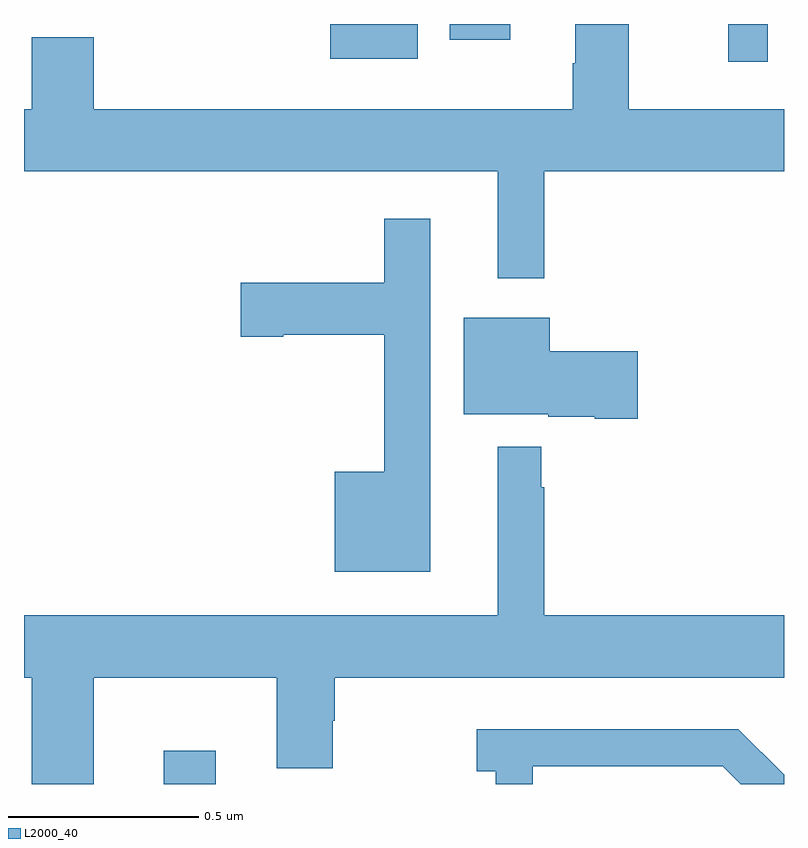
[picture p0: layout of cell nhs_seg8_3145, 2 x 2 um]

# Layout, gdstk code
import gdstk
lib = gdstk.Library(unit=1e-6, precision=1e-09)
def R(c, l, rs):  # rectangles x0, y0, x1, y1
    for r in rs: c.add(gdstk.rectangle(r[:2], r[2:], *l))
def P(c, l, *ps):  # polygons
    for p in ps: c.add(gdstk.Polygon(p, *l))
L2000_40 = (2000, 40)

nhs_seg8_3145 = lib.new_cell('nhs_seg8_3145')
R(nhs_seg8_3145, L2000_40, [(153.368,1102.9,153.505,1102.987), (154.853,1104.801,154.957,1104.9), (153.806,1104.809,154.036,1104.9), (154.121,1104.858,154.279,1104.9)])
P(nhs_seg8_3145, L2000_40, [(154.369,1104.512),(155,1104.512),(155,1104.676),(154.591,1104.676),(154.591,1104.9),(154.451,1104.9),(154.451,1104.797),(154.444,1104.797),(154.444,1104.676),(153.184,1104.676),(153.184,1104.865),(153.02,1104.865),(153.02,1104.676),(153,1104.676),(153,1104.512),(154.247,1104.512),(154.247,1104.231),(154.369,1104.231)],
  [(154.069,1104.388),(153.948,1104.388),(153.948,1104.219),(153.57,1104.219),(153.57,1104.077),(153.682,1104.077),(153.682,1104.082),(153.948,1104.082),(153.948,1103.722),(153.818,1103.722),(153.818,1103.459),(154.069,1103.459)],
  [(154.615,1104.039),(154.384,1104.039),(154.384,1104.127),(154.157,1104.127),(154.157,1103.873),(154.38,1103.873),(154.38,1103.867),(154.502,1103.867),(154.502,1103.861),(154.615,1103.861)],
  [(153.184,1103.18),(153.665,1103.18),(153.665,1102.942),(153.813,1102.942),(153.813,1103.067),(153.818,1103.067),(153.818,1103.18),(155,1103.18),(155,1103.344),(154.369,1103.344),(154.369,1103.681),(154.361,1103.681),(154.361,1103.788),(154.247,1103.788),(154.247,1103.344),(153,1103.344),(153,1103.18),(153.02,1103.18),(153.02,1102.9),(153.184,1102.9)],
  [(154.339,1102.947),(154.839,1102.947),(154.886,1102.9),(155,1102.9),(155,1102.924),(154.88,1103.044),(154.191,1103.044),(154.191,1102.934),(154.242,1102.934),(154.242,1102.9),(154.339,1102.9)])

lib.write_gds('nhs_seg8_3145.gds')
